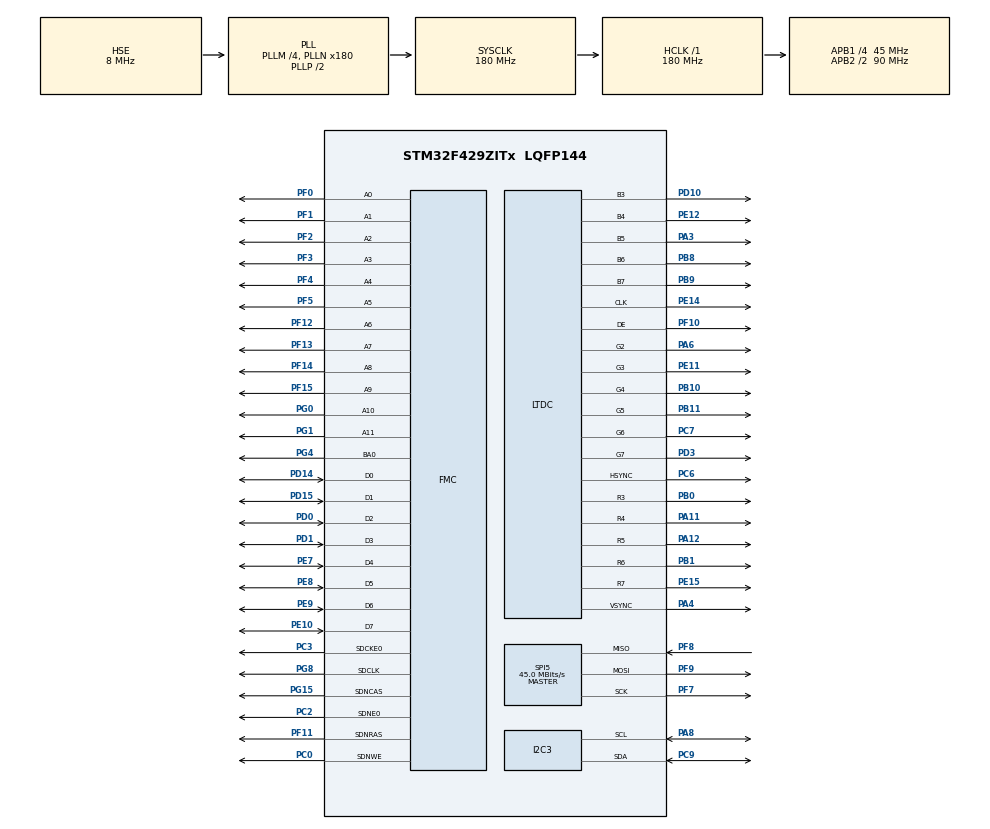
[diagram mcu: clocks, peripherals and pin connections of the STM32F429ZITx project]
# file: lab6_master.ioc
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FMC.CASLatency1=FMC_SDRAM_CAS_LATENCY_3
Mcu.Family=STM32F4
Mcu.Name=STM32F429ZITx
Mcu.Package=LQFP144
NVIC.PriorityGroup=NVIC_PRIORITYGROUP_4
PA11.Mode=RGB565
PA11.Signal=LTDC_R4
PA12.Mode=RGB565
PA12.Signal=LTDC_R5
PA13.Mode=Serial_Wire
PA13.Signal=SYS_JTMS-SWDIO
PA14.Mode=Serial_Wire
PA14.Signal=SYS_JTCK-SWCLK
PA3.Mode=RGB565
PA3.Signal=LTDC_B5
PA4.Mode=RGB565
PA4.Signal=LTDC_VSYNC
PA6.Mode=RGB565
PA6.Signal=LTDC_G2
PA8.Mode=I2C
PA8.Signal=I2C3_SCL
PB0.Mode=RGB565
PB0.Signal=LTDC_R3
PB1.Mode=RGB565
PB1.Signal=LTDC_R6
PB10.Mode=RGB565
PB10.Signal=LTDC_G4
PB11.Mode=RGB565
PB11.Signal=LTDC_G5
PB8.Mode=RGB565
PB8.Signal=LTDC_B6
PB9.Mode=RGB565
PB9.Signal=LTDC_B7
PC0.Signal=FMC_SDNWE
PC2.Mode=SdramChipSelect1_1
PC2.Signal=FMC_SDNE0
PC3.Mode=SdramChipSelect1_1
PC3.Signal=FMC_SDCKE0
PC6.Mode=RGB565
PC6.Signal=LTDC_HSYNC
PC7.Mode=RGB565
PC7.Signal=LTDC_G6
PC9.Mode=I2C
PC9.Signal=I2C3_SDA
PD0.Signal=FMC_D2_DA2
PD1.Signal=FMC_D3_DA3
PD10.Mode=RGB565
PD10.Signal=LTDC_B3
PD14.Signal=FMC_D0_DA0
PD15.Signal=FMC_D1_DA1
PD3.Mode=RGB565
PD3.Signal=LTDC_G7
PE10.Signal=FMC_D7_DA7
PE11.Mode=RGB565
PE11.Signal=LTDC_G3
PE12.Mode=RGB565
PE12.Signal=LTDC_B4
PE14.Mode=RGB565
PE14.Signal=LTDC_CLK
PE15.Mode=RGB565
PE15.Signal=LTDC_R7
PE7.Signal=FMC_D4_DA4
PE8.Signal=FMC_D5_DA5
PE9.Signal=FMC_D6_DA6
PF0.Signal=FMC_A0
PF1.Signal=FMC_A1
PF10.Mode=RGB565
PF10.Signal=LTDC_DE
PF11.Signal=FMC_SDNRAS
PF12.Signal=FMC_A6
PF13.Signal=FMC_A7
PF14.Signal=FMC_A8
PF15.Signal=FMC_A9
PF2.Signal=FMC_A2
PF3.Signal=FMC_A3
PF4.Signal=FMC_A4
PF5.Signal=FMC_A5
PF7.Mode=Full_Duplex_Master
PF7.Signal=SPI5_SCK
PF8.Mode=Full_Duplex_Master
PF8.Signal=SPI5_MISO
PF9.Mode=Full_Duplex_Master
PF9.Signal=SPI5_MOSI
PG0.Signal=FMC_A10
PG1.Signal=FMC_A11
PG15.Signal=FMC_SDNCAS
PG4.Signal=FMC_A14_BA0
PG8.Signal=FMC_SDCLK
PH0/OSC_IN.Mode=HSE-External-Oscillator
PH0/OSC_IN.Signal=RCC_OSC_IN
PH1/OSC_OUT.Mode=HSE-External-Oscillator
PH1/OSC_OUT.Signal=RCC_OSC_OUT
ProjectManager.HeapSize=0x200
ProjectManager.StackSize=0x400
ProjectManager.TargetToolchain=STM32CubeIDE
RCC.48MHZClocksFreq_Value=120000000
RCC.AHBFreq_Value=180000000
RCC.APB1CLKDivider=RCC_HCLK_DIV4
RCC.APB1Freq_Value=45000000
RCC.APB1TimFreq_Value=90000000
RCC.APB2CLKDivider=RCC_HCLK_DIV2
RCC.APB2Freq_Value=90000000
RCC.APB2TimFreq_Value=180000000
RCC.CortexFreq_Value=180000000
RCC.HCLKFreq_Value=180000000
RCC.HSE_VALUE=8000000
RCC.HSI_VALUE=16000000
RCC.LSE_VALUE=32768
RCC.PLLM=4
RCC.PLLN=180
RCC.PLLQ=3
RCC.PLLSAIN=50
RCC.PLLSourceVirtual=RCC_PLLSOURCE_HSE
RCC.SYSCLKFreq_VALUE=180000000
RCC.SYSCLKSource=RCC_SYSCLKSOURCE_PLLCLK
RCC.VCOOutputFreq_Value=360000000
SH.FMC_A0.0=FMC_A0,12b-sda1
SH.FMC_A1.0=FMC_A1,12b-sda1
SH.FMC_A10.0=FMC_A10,12b-sda1
SH.FMC_A11.0=FMC_A11,12b-sda1
SH.FMC_A14_BA0.0=FMC_BA0,TwoSdramBanks1
SH.FMC_A2.0=FMC_A2,12b-sda1
SH.FMC_A3.0=FMC_A3,12b-sda1
SH.FMC_A4.0=FMC_A4,12b-sda1
SH.FMC_A5.0=FMC_A5,12b-sda1
SH.FMC_A6.0=FMC_A6,12b-sda1
SH.FMC_A7.0=FMC_A7,12b-sda1
SH.FMC_A8.0=FMC_A8,12b-sda1
SH.FMC_A9.0=FMC_A9,12b-sda1
SH.FMC_D0_DA0.0=FMC_D0,sd-8b-d1
SH.FMC_D1_DA1.0=FMC_D1,sd-8b-d1
SH.FMC_D2_DA2.0=FMC_D2,sd-8b-d1
SH.FMC_D3_DA3.0=FMC_D3,sd-8b-d1
SH.FMC_D4_DA4.0=FMC_D4,sd-8b-d1
SH.FMC_D5_DA5.0=FMC_D5,sd-8b-d1
SH.FMC_D6_DA6.0=FMC_D6,sd-8b-d1
SH.FMC_D7_DA7.0=FMC_D7,sd-8b-d1
SH.FMC_SDCLK.0=FMC_SDCLK,12b-sda1
SH.FMC_SDNCAS.0=FMC_SDNCAS,12b-sda1
SH.FMC_SDNRAS.0=FMC_SDNRAS,12b-sda1
SH.FMC_SDNWE.0=FMC_SDNWE,12b-sda1
SPI5.CalculateBaudRate=45.0 MBits/s
SPI5.Direction=SPI_DIRECTION_2LINES
SPI5.Mode=SPI_MODE_MASTER
SPI5.VirtualType=VM_MASTER
board=STM32F429I-DISC1

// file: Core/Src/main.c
/* USER CODE BEGIN Header */
/**
  ******************************************************************************
  * @file           : main.c
  * @brief          : Main program body
  ******************************************************************************
  * @attention
  *
  * Copyright (c) 2026 STMicroelectronics.
  * All rights reserved.
  *
  * This software is licensed under terms that can be found in the LICENSE file
  * in the root directory of this software component.
  * If no LICENSE file comes with this software, it is provided AS-IS.
  *
  ******************************************************************************
  */
/* USER CODE END Header */
#include "main.h"

/* USER CODE BEGIN Includes */
#include <stdio.h>
#include "stm32f429i_discovery_lcd.h"
/* USER CODE END Includes */

DMA2D_HandleTypeDef hdma2d;

I2C_HandleTypeDef hi2c3;

LTDC_HandleTypeDef hltdc;

SPI_HandleTypeDef hspi5;

SDRAM_HandleTypeDef hsdram1;

/* USER CODE BEGIN PV */
uint8_t i2c_data[] = {0x10, 0x20, 0x30, 0x40};
uint8_t current_idx = 0;
uint32_t transfer_count = 0;
uint16_t slave_addr = 0x3C << 1;
char msg[30];
/* USER CODE END PV */

void SystemClock_Config(void);
static void MX_GPIO_Init(void);
static void MX_I2C3_Init(void);
static void MX_FMC_Init(void);
static void MX_LTDC_Init(void);
static void MX_SPI5_Init(void);
static void MX_DMA2D_Init(void);

int main(void)
{

  /* MCU Configuration--------------------------------------------------------*/

  /* Reset of all peripherals, Initializes the Flash interface and the Systick. */
  HAL_Init();

  /* Configure the system clock */
  SystemClock_Config();

  /* Initialize all configured peripherals */
  MX_GPIO_Init();
  MX_I2C3_Init();
  MX_FMC_Init();
  MX_LTDC_Init();
  MX_SPI5_Init();
  MX_DMA2D_Init();
  /* USER CODE BEGIN 2 */
  BSP_LCD_Init();
  BSP_LCD_LayerDefaultInit(LCD_FOREGROUND_LAYER, LCD_FRAME_BUFFER);
  BSP_LCD_SelectLayer(LCD_FOREGROUND_LAYER);
  BSP_LCD_DisplayOn();
  BSP_LCD_Clear(LCD_COLOR_WHITE);
  BSP_LCD_SetTextColor(LCD_COLOR_BLACK);
  BSP_LCD_SetBackColor(LCD_COLOR_WHITE);
  BSP_LCD_SetFont(&Font16);

  BSP_LCD_DisplayStringAtLine(1, (uint8_t*)"I2C3 MASTER (MAIN)");
  /* USER CODE END 2 */

  /* Infinite loop */
  while (1)
  {

    /* USER CODE BEGIN 3 */
    if (HAL_I2C_Master_Transmit(&hi2c3, slave_addr, &i2c_data[current_idx], 1, 100) == HAL_OK)
    {
        transfer_count++;
        sprintf(msg, "Sent: 0x%02X     ", i2c_data[current_idx]);
        BSP_LCD_DisplayStringAtLine(4, (uint8_t*)msg);
        sprintf(msg, "Count: %lu      ", transfer_count);
        BSP_LCD_DisplayStringAtLine(5, (uint8_t*)msg);

        BSP_LCD_SetTextColor(LCD_COLOR_GREEN);
        BSP_LCD_DisplayStringAtLine(7, (uint8_t*)"Status: OK      ");
        BSP_LCD_SetTextColor(LCD_COLOR_BLACK);
    }
    else
    {
        BSP_LCD_SetTextColor(LCD_COLOR_RED);
        BSP_LCD_DisplayStringAtLine(7, (uint8_t*)"Status: ERROR   ");
        BSP_LCD_SetTextColor(LCD_COLOR_BLACK);
    }

    current_idx = (current_idx + 1) % 4;
    HAL_Delay(1000);
  }
  /* USER CODE END 3 */
}

void SystemClock_Config(void)
{
  RCC_OscInitTypeDef RCC_OscInitStruct = {0};
  RCC_ClkInitTypeDef RCC_ClkInitStruct = {0};

  /** Configure the main internal regulator output voltage
  */
  __HAL_RCC_PWR_CLK_ENABLE();
  __HAL_PWR_VOLTAGESCALING_CONFIG(PWR_REGULATOR_VOLTAGE_SCALE1);

  /** Initializes the RCC Oscillators according to the specified parameters
  * in the RCC_OscInitTypeDef structure.
  */
  RCC_OscInitStruct.OscillatorType = RCC_OSCILLATORTYPE_HSE;
  RCC_OscInitStruct.HSEState = RCC_HSE_ON;
  RCC_OscInitStruct.PLL.PLLState = RCC_PLL_ON;
  RCC_OscInitStruct.PLL.PLLSource = RCC_PLLSOURCE_HSE;
  RCC_OscInitStruct.PLL.PLLM = 4;
  RCC_OscInitStruct.PLL.PLLN = 180;
  RCC_OscInitStruct.PLL.PLLP = RCC_PLLP_DIV2;
  RCC_OscInitStruct.PLL.PLLQ = 3;
  if (HAL_RCC_OscConfig(&RCC_OscInitStruct) != HAL_OK)
  {
    Error_Handler();
  }

  /** Activate the Over-Drive mode
  */
  if (HAL_PWREx_EnableOverDrive() != HAL_OK)
  {
    Error_Handler();
  }

  /** Initializes the CPU, AHB and APB buses clocks
  */
  RCC_ClkInitStruct.ClockType = RCC_CLOCKTYPE_HCLK|RCC_CLOCKTYPE_SYSCLK
                              |RCC_CLOCKTYPE_PCLK1|RCC_CLOCKTYPE_PCLK2;
  RCC_ClkInitStruct.SYSCLKSource = RCC_SYSCLKSOURCE_PLLCLK;
  RCC_ClkInitStruct.AHBCLKDivider = RCC_SYSCLK_DIV1;
  RCC_ClkInitStruct.APB1CLKDivider = RCC_HCLK_DIV4;
  RCC_ClkInitStruct.APB2CLKDivider = RCC_HCLK_DIV2;

  if (HAL_RCC_ClockConfig(&RCC_ClkInitStruct, FLASH_LATENCY_5) != HAL_OK)
  {
    Error_Handler();
  }
}

static void MX_DMA2D_Init(void)
{

  hdma2d.Instance = DMA2D;
  hdma2d.Init.Mode = DMA2D_M2M;
  hdma2d.Init.ColorMode = DMA2D_OUTPUT_ARGB8888;
  hdma2d.Init.OutputOffset = 0;
  hdma2d.LayerCfg[1].InputOffset = 0;
  hdma2d.LayerCfg[1].InputColorMode = DMA2D_INPUT_ARGB8888;
  hdma2d.LayerCfg[1].AlphaMode = DMA2D_NO_MODIF_ALPHA;
  hdma2d.LayerCfg[1].InputAlpha = 0;
  if (HAL_DMA2D_Init(&hdma2d) != HAL_OK)
  {
    Error_Handler();
  }
  if (HAL_DMA2D_ConfigLayer(&hdma2d, 1) != HAL_OK)
  {
    Error_Handler();
  }

}

static void MX_I2C3_Init(void)
{

  hi2c3.Instance = I2C3;
  hi2c3.Init.ClockSpeed = 100000;
  hi2c3.Init.DutyCycle = I2C_DUTYCYCLE_2;
  hi2c3.Init.OwnAddress1 = 0;
  hi2c3.Init.AddressingMode = I2C_ADDRESSINGMODE_7BIT;
  hi2c3.Init.DualAddressMode = I2C_DUALADDRESS_DISABLE;
  hi2c3.Init.OwnAddress2 = 0;
  hi2c3.Init.GeneralCallMode = I2C_GENERALCALL_DISABLE;
  hi2c3.Init.NoStretchMode = I2C_NOSTRETCH_DISABLE;
  if (HAL_I2C_Init(&hi2c3) != HAL_OK)
  {
    Error_Handler();
  }

  /** Configure Analogue filter
  */
  if (HAL_I2CEx_ConfigAnalogFilter(&hi2c3, I2C_ANALOGFILTER_ENABLE) != HAL_OK)
  {
    Error_Handler();
  }

  /** Configure Digital filter
  */
  if (HAL_I2CEx_ConfigDigitalFilter(&hi2c3, 0) != HAL_OK)
  {
    Error_Handler();
  }

}

static void MX_LTDC_Init(void)
{

  LTDC_LayerCfgTypeDef pLayerCfg = {0};
  LTDC_LayerCfgTypeDef pLayerCfg1 = {0};

  hltdc.Instance = LTDC;
  hltdc.Init.HSPolarity = LTDC_HSPOLARITY_AL;
  hltdc.Init.VSPolarity = LTDC_VSPOLARITY_AL;
  hltdc.Init.DEPolarity = LTDC_DEPOLARITY_AL;
  hltdc.Init.PCPolarity = LTDC_PCPOLARITY_IPC;
  hltdc.Init.HorizontalSync = 7;
  hltdc.Init.VerticalSync = 3;
  hltdc.Init.AccumulatedHBP = 14;
  hltdc.Init.AccumulatedVBP = 5;
  hltdc.Init.AccumulatedActiveW = 654;
  hltdc.Init.AccumulatedActiveH = 485;
  hltdc.Init.TotalWidth = 660;
  hltdc.Init.TotalHeigh = 487;
  hltdc.Init.Backcolor.Blue = 0;
  hltdc.Init.Backcolor.Green = 0;
  hltdc.Init.Backcolor.Red = 0;
  if (HAL_LTDC_Init(&hltdc) != HAL_OK)
  {
    Error_Handler();
  }
  pLayerCfg.WindowX0 = 0;
  pLayerCfg.WindowX1 = 0;
  pLayerCfg.WindowY0 = 0;
  pLayerCfg.WindowY1 = 0;
  pLayerCfg.PixelFormat = LTDC_PIXEL_FORMAT_ARGB8888;
  pLayerCfg.Alpha = 0;
  pLayerCfg.Alpha0 = 0;
  pLayerCfg.BlendingFactor1 = LTDC_BLENDING_FACTOR1_CA;
  pLayerCfg.BlendingFactor2 = LTDC_BLENDING_FACTOR2_CA;
  pLayerCfg.FBStartAdress = 0;
  pLayerCfg.ImageWidth = 0;
  pLayerCfg.ImageHeight = 0;
  pLayerCfg.Backcolor.Blue = 0;
  pLayerCfg.Backcolor.Green = 0;
  pLayerCfg.Backcolor.Red = 0;
  if (HAL_LTDC_ConfigLayer(&hltdc, &pLayerCfg, 0) != HAL_OK)
  {
    Error_Handler();
  }
  pLayerCfg1.WindowX0 = 0;
  pLayerCfg1.WindowX1 = 0;
  pLayerCfg1.WindowY0 = 0;
  pLayerCfg1.WindowY1 = 0;
  pLayerCfg1.PixelFormat = LTDC_PIXEL_FORMAT_ARGB8888;
  pLayerCfg1.Alpha = 0;
  pLayerCfg1.Alpha0 = 0;
  pLayerCfg1.BlendingFactor1 = LTDC_BLENDING_FACTOR1_CA;
  pLayerCfg1.BlendingFactor2 = LTDC_BLENDING_FACTOR2_CA;
  pLayerCfg1.FBStartAdress = 0;
  pLayerCfg1.ImageWidth = 0;
  pLayerCfg1.ImageHeight = 0;
  pLayerCfg1.Backcolor.Blue = 0;
  pLayerCfg1.Backcolor.Green = 0;
  pLayerCfg1.Backcolor.Red = 0;
  if (HAL_LTDC_ConfigLayer(&hltdc, &pLayerCfg1, 1) != HAL_OK)
  {
    Error_Handler();
  }

}

static void MX_SPI5_Init(void)
{

  /* SPI5 parameter configuration*/
  hspi5.Instance = SPI5;
  hspi5.Init.Mode = SPI_MODE_MASTER;
  hspi5.Init.Direction = SPI_DIRECTION_2LINES;
  hspi5.Init.DataSize = SPI_DATASIZE_8BIT;
  hspi5.Init.CLKPolarity = SPI_POLARITY_LOW;
  hspi5.Init.CLKPhase = SPI_PHASE_1EDGE;
  hspi5.Init.NSS = SPI_NSS_SOFT;
  hspi5.Init.BaudRatePrescaler = SPI_BAUDRATEPRESCALER_2;
  hspi5.Init.FirstBit = SPI_FIRSTBIT_MSB;
  hspi5.Init.TIMode = SPI_TIMODE_DISABLE;
  hspi5.Init.CRCCalculation = SPI_CRCCALCULATION_DISABLE;
  hspi5.Init.CRCPolynomial = 10;
  if (HAL_SPI_Init(&hspi5) != HAL_OK)
  {
    Error_Handler();
  }

}

/* FMC initialization function */
static void MX_FMC_Init(void)
{

  FMC_SDRAM_TimingTypeDef SdramTiming = {0};

  /** Perform the SDRAM1 memory initialization sequence
  */
  hsdram1.Instance = FMC_SDRAM_DEVICE;
  /* hsdram1.Init */
  hsdram1.Init.SDBank = FMC_SDRAM_BANK1;
  hsdram1.Init.ColumnBitsNumber = FMC_SDRAM_COLUMN_BITS_NUM_8;
  hsdram1.Init.RowBitsNumber = FMC_SDRAM_ROW_BITS_NUM_12;
  hsdram1.Init.MemoryDataWidth = FMC_SDRAM_MEM_BUS_WIDTH_8;
  hsdram1.Init.InternalBankNumber = FMC_SDRAM_INTERN_BANKS_NUM_2;
  hsdram1.Init.CASLatency = FMC_SDRAM_CAS_LATENCY_3;
  hsdram1.Init.WriteProtection = FMC_SDRAM_WRITE_PROTECTION_DISABLE;
  hsdram1.Init.SDClockPeriod = FMC_SDRAM_CLOCK_DISABLE;
  hsdram1.Init.ReadBurst = FMC_SDRAM_RBURST_DISABLE;
  hsdram1.Init.ReadPipeDelay = FMC_SDRAM_RPIPE_DELAY_0;
  /* SdramTiming */
  SdramTiming.LoadToActiveDelay = 16;
  SdramTiming.ExitSelfRefreshDelay = 16;
  SdramTiming.SelfRefreshTime = 16;
  SdramTiming.RowCycleDelay = 16;
  SdramTiming.WriteRecoveryTime = 16;
  SdramTiming.RPDelay = 16;
  SdramTiming.RCDDelay = 16;

  if (HAL_SDRAM_Init(&hsdram1, &SdramTiming) != HAL_OK)
  {
    Error_Handler( );
  }

}

static void MX_GPIO_Init(void)
{

  /* GPIO Ports Clock Enable */
  __HAL_RCC_GPIOF_CLK_ENABLE();
  __HAL_RCC_GPIOH_CLK_ENABLE();
  __HAL_RCC_GPIOC_CLK_ENABLE();
  __HAL_RCC_GPIOA_CLK_ENABLE();
  __HAL_RCC_GPIOB_CLK_ENABLE();
  __HAL_RCC_GPIOG_CLK_ENABLE();
  __HAL_RCC_GPIOE_CLK_ENABLE();
  __HAL_RCC_GPIOD_CLK_ENABLE();

}

void Error_Handler(void)
{
  __disable_irq();
  while (1)
  {
  }
}
